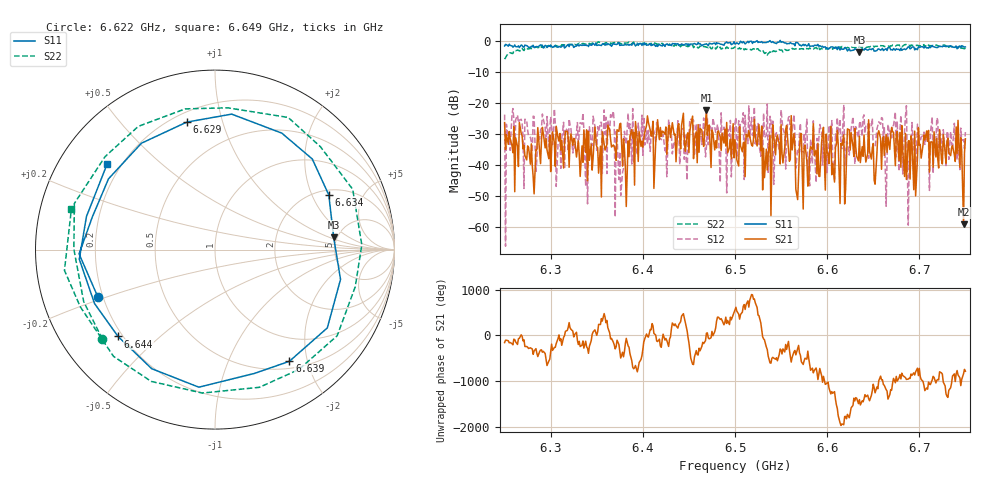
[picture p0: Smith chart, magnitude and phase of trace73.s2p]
# Hz S RI R 50
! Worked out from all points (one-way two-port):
!   401 points, 6.25 GHz to 6.75 GHz, reference 50 ohm
!   highest |S21| = -22.24 dB at 6.469 GHz (marker M1); lowest = -59.1 dB at 6.748 GHz (marker M2)
!   lowest |S11| = -3.5 dB at 6.635 GHz (marker M3), VSWR 4.96, Z = 234 + j56.6 ohm
!   |S11| at or under -10 dB: nowhere
!   |S22| runs from -5.7 to -0.1 dB; largest |S21 - S12| = 0.13
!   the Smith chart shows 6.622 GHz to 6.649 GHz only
!   S11 on the Smith chart (normalised r, x): 6.622 GHz: 0.18, -0.19; 6.629 GHz: 0.26, +0.77; 6.634 GHz: 2.23, +2.69; 6.639 GHz: 0.60, -1.71; 6.644 GHz: 0.18, -0.37; 6.649 GHz: 0.15, +0.34
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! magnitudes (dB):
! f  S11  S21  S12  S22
! 6.25 GHz  -1.4  -26.2  -23.6  -5.7
! 6.28 GHz  -1.7  -39.9  -35.6  -2.2
! 6.334 GHz  -1.3  -33.7  -26.7  -0.7
! 6.339 GHz  -1.3  -28.5  -31.8  -0.5
! 6.366 GHz  -1.6  -34.0  -24.8  -0.6
! 6.376 GHz  -1.2  -26.4  -49.7  -0.6
! 6.382 GHz  -1.1  -53.2  -33.2  -0.5
! 6.418 GHz  -0.9  -31.7  -31.3  -0.6
! 6.469 GHz  -0.7  -22.2  -34.1  -1.8
! 6.5 GHz  -0.8  -31.7  -26.4  -1.7
! 6.584 GHz  -1.4  -34.8  -39.4  -2.5
! 6.622 GHz  -3.0  -28.2  -32.6  -1.9
! 6.629 GHz  -2.8  -37.1  -29.5  -1.8
! 6.634 GHz  -3.1  -38.5  -31.1  -1.7
! 6.635 GHz  -3.5  -30.5  -26.5  -1.5
! 6.639 GHz  -2.5  -37.1  -24.5  -1.6
! 6.644 GHz  -2.8  -36.2  -26.6  -1.8
! 6.649 GHz  -2.3  -34.4  -24.8  -1.6
! 6.668 GHz  -1.9  -34.8  -29.9  -1.6
! 6.69 GHz  -2.4  -44.4  -42.7  -1.5
! 6.748 GHz  -1.6  -59.1  -31.7  -2.3
! 6.75 GHz  -1.8  -31.4  -29.2  -2.2
